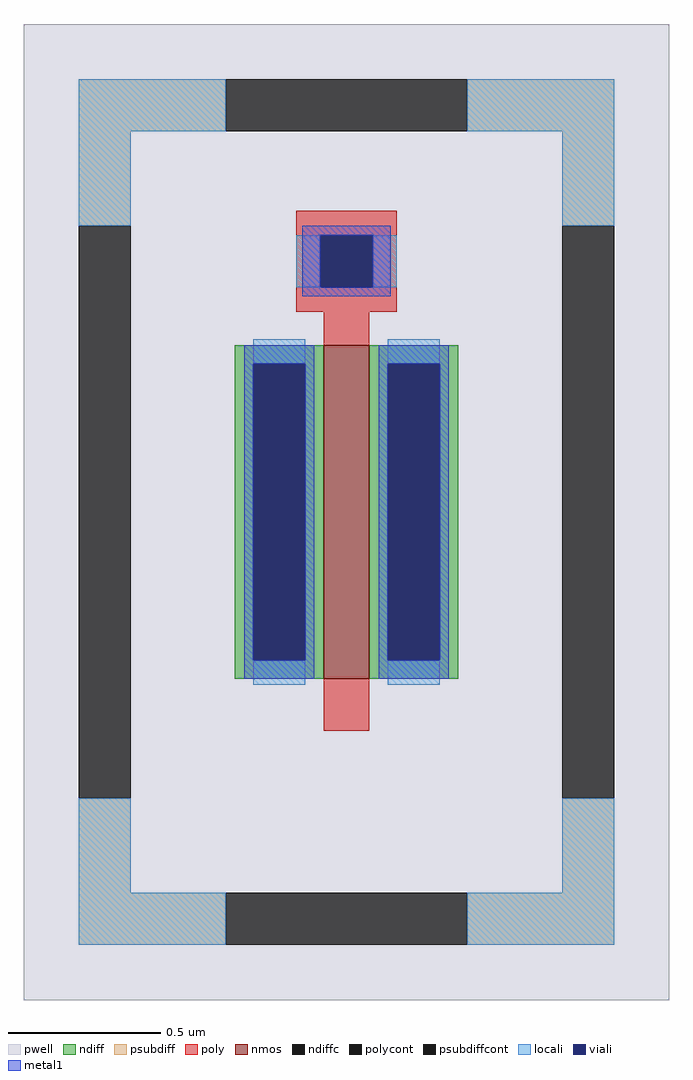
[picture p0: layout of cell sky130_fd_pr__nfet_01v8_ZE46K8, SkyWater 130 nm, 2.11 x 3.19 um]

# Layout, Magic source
magic
tech sky130A
magscale 1 2
<< pwell >>
rect -211 -319 211 319
<< nmos >>
rect -15 -109 15 109
<< ndiff >>
rect -73 97 -15 109
rect -73 -97 -61 97
rect -27 -97 -15 97
rect -73 -109 -15 -97
rect 15 97 73 109
rect 15 -97 27 97
rect 61 -97 73 97
rect 15 -109 73 -97
<< ndiffc >>
rect -61 -97 -27 97
rect 27 -97 61 97
<< psubdiff >>
rect -175 249 -79 283
rect 79 249 175 283
rect -175 187 -141 249
rect 141 187 175 249
rect -175 -249 -141 -187
rect 141 -249 175 -187
rect -175 -283 -79 -249
rect 79 -283 175 -249
<< psubdiffcont >>
rect -79 249 79 283
rect -175 -187 -141 187
rect 141 -187 175 187
rect -79 -283 79 -249
<< poly >>
rect -33 181 33 197
rect -33 147 -17 181
rect 17 147 33 181
rect -33 131 33 147
rect -15 109 15 131
rect -15 -143 15 -109
<< polycont >>
rect -17 147 17 181
<< locali >>
rect -175 249 -79 283
rect 79 249 175 283
rect -175 187 -141 249
rect 141 187 175 249
rect -33 147 -17 181
rect 17 147 33 181
rect -61 97 -27 113
rect -61 -113 -27 -97
rect 27 97 61 113
rect 27 -113 61 -97
rect -175 -249 -141 -187
rect 141 -249 175 -187
rect -175 -283 -79 -249
rect 79 -283 175 -249
<< viali >>
rect -17 147 17 181
rect -61 -97 -27 97
rect 27 -97 61 97
<< metal1 >>
rect -29 181 29 187
rect -29 147 -17 181
rect 17 147 29 181
rect -29 141 29 147
rect -67 97 -21 109
rect -67 -97 -61 97
rect -27 -97 -21 97
rect -67 -109 -21 -97
rect 21 97 67 109
rect 21 -97 27 97
rect 61 -97 67 97
rect 21 -109 67 -97
<< properties >>
string gencell sky130_fd_pr__nfet_01v8
string FIXED_BBOX -158 -266 158 266
string parameters w 1.09 l 0.150 m 1 nf 1 diffcov 100 polycov 100 guard 1 glc 1 grc 1 gtc 1 gbc 1 tbcov 100 rlcov 100 topc 1 botc 1 poverlap 0 doverlap 1 lmin 0.15 wmin 0.42 compatible {sky130_fd_pr__nfet_01v8 sky130_fd_pr__nfet_01v8_lvt  sky130_fd_bs_flash__special_sonosfet_star  sky130_fd_pr__nfet_g5v0d10v5 sky130_fd_pr__nfet_05v0_nvt} full_metal 1 viasrc 100 viadrn 100 viagate 100 viagb 0 viagr 0 viagl 0 viagt 0
string library sky130
<< end >>
